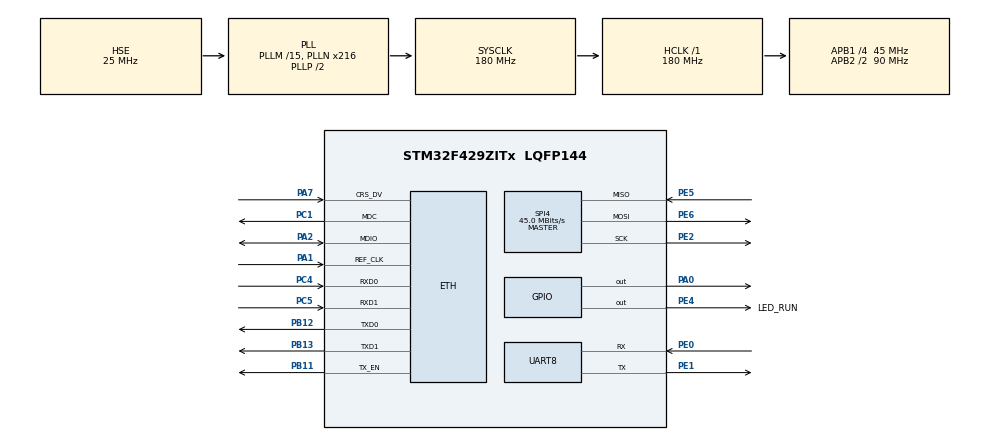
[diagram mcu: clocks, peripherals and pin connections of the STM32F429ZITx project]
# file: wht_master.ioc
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Dma.Request0=UART8_TX
Dma.UART8_TX.0.Direction=DMA_MEMORY_TO_PERIPH
Dma.UART8_TX.0.FIFOMode=DMA_FIFOMODE_DISABLE
Dma.UART8_TX.0.Instance=DMA1_Stream0
Dma.UART8_TX.0.MemDataAlignment=DMA_MDATAALIGN_BYTE
Dma.UART8_TX.0.MemInc=DMA_MINC_ENABLE
Dma.UART8_TX.0.Mode=DMA_NORMAL
Dma.UART8_TX.0.PeriphDataAlignment=DMA_PDATAALIGN_BYTE
Dma.UART8_TX.0.PeriphInc=DMA_PINC_DISABLE
Dma.UART8_TX.0.Priority=DMA_PRIORITY_LOW
ETH.MediaInterface=HAL_ETH_RMII_MODE
FREERTOS.Tasks01=defaultTask,24,2048,StartDefaultTask,Default,NULL,Dynamic,NULL,NULL
FREERTOS.configTOTAL_HEAP_SIZE=153600
LWIP.BSP.number=1
LWIP.GATEWAY_ADDRESS=192.168.000.001
LWIP.IP_ADDRESS=192.168.000.002
LWIP.LWIP_DHCP=0
LWIP.LWIP_NETIF_STATUS_CALLBACK=1
LWIP.LWIP_TCP=0
LWIP.MEMP_NUM_PBUF=100
LWIP.MEM_SIZE=10240
LWIP.NETMASK_ADDRESS=255.255.255.000
LWIP.PBUF_POOL_BUFSIZE=1514
LWIP.PBUF_POOL_SIZE=40
LWIP.Version=v2.1.2_Cube
LWIP0.BSP.STBoard=false
LWIP0.BSP.api=BSP_COMPONENT_DRIVER
LWIP0.BSP.component=DP83848
LWIP0.BSP.instance=DP83848
LWIP0.BSP.name=Driver_PHY
LWIP0.BSP.semaphore=S_DP83848
LWIP0.BSP.solution=DP83848
Mcu.Family=STM32F4
Mcu.Name=STM32F429ZITx
Mcu.Package=LQFP144
NVIC.DMA1_Stream0_IRQn=true\:5\:0\:false\:false\:true\:true\:false\:true\:true
NVIC.ETH_IRQn=true\:5\:0\:false\:false\:true\:true\:false\:true\:true
NVIC.PriorityGroup=NVIC_PRIORITYGROUP_4
NVIC.TIM6_DAC_IRQn=true\:15\:0\:false\:false\:true\:false\:false\:true\:true
NVIC.TimeBase=TIM6_DAC_IRQn
NVIC.TimeBaseIP=TIM6
NVIC.UART8_IRQn=true\:5\:0\:false\:false\:true\:true\:true\:true\:true
PA0/WKUP.Signal=GPIO_Output
PA1.Mode=RMII
PA1.Signal=ETH_REF_CLK
PA2.Mode=RMII
PA2.Signal=ETH_MDIO
PA7.Mode=RMII
PA7.Signal=ETH_CRS_DV
PB11.Mode=RMII
PB11.Signal=ETH_TX_EN
PB12.Mode=RMII
PB12.Signal=ETH_TXD0
PB13.Mode=RMII
PB13.Signal=ETH_TXD1
PC1.Mode=RMII
PC1.Signal=ETH_MDC
PC4.Mode=RMII
PC4.Signal=ETH_RXD0
PC5.Mode=RMII
PC5.Signal=ETH_RXD1
PE0.Mode=Asynchronous
PE0.Signal=UART8_RX
PE1.Mode=Asynchronous
PE1.Signal=UART8_TX
PE2.Mode=Full_Duplex_Master
PE2.Signal=SPI4_SCK
PE4.GPIO_Label=LED_RUN
PE4.Signal=GPIO_Output
PE5.Mode=Full_Duplex_Master
PE5.Signal=SPI4_MISO
PE6.Mode=Full_Duplex_Master
PE6.Signal=SPI4_MOSI
PH0/OSC_IN.Mode=HSE-External-Oscillator
PH0/OSC_IN.Signal=RCC_OSC_IN
PH1/OSC_OUT.Mode=HSE-External-Oscillator
PH1/OSC_OUT.Signal=RCC_OSC_OUT
ProjectManager.HeapSize=0x200
ProjectManager.StackSize=0x400
ProjectManager.TargetToolchain=CMake
RCC.48MHZClocksFreq_Value=90000000
RCC.AHBFreq_Value=180000000
RCC.APB1CLKDivider=RCC_HCLK_DIV4
RCC.APB1Freq_Value=45000000
RCC.APB1TimFreq_Value=90000000
RCC.APB2CLKDivider=RCC_HCLK_DIV2
RCC.APB2Freq_Value=90000000
RCC.APB2TimFreq_Value=180000000
RCC.CortexFreq_Value=180000000
RCC.HCLKFreq_Value=180000000
RCC.HSE_VALUE=25000000
RCC.HSI_VALUE=16000000
RCC.LSE_VALUE=32768
RCC.PLLM=15
RCC.PLLN=216
RCC.PLLSourceVirtual=RCC_PLLSOURCE_HSE
RCC.SYSCLKFreq_VALUE=180000000
RCC.SYSCLKSource=RCC_SYSCLKSOURCE_PLLCLK
RCC.VCOOutputFreq_Value=360000000
SPI4.CalculateBaudRate=45.0 MBits/s
SPI4.Direction=SPI_DIRECTION_2LINES
SPI4.Mode=SPI_MODE_MASTER
SPI4.VirtualType=VM_MASTER
TIM2.AutoReloadPreload=TIM_AUTORELOAD_PRELOAD_ENABLE
TIM2.Period=0xFFFFFFFF
TIM2.Prescaler=179
UART8.VirtualMode=Asynchronous
VP_FREERTOS_VS_CMSIS_V2.Mode=CMSIS_V2
VP_LWIP_VS_Enabled.Mode=Enabled
VP_SYS_VS_tim6.Mode=TIM6
VP_TIM2_VS_ClockSourceINT.Mode=Internal
VP_TIM2_VS_ClockSourceITR.Mode=TriggerSource_ITR0
board=custom

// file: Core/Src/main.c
/* USER CODE BEGIN Header */
/**
 ******************************************************************************
 * @file           : main.c
 * @brief          : Main program body
 ******************************************************************************
 * @attention
 *
 * Copyright (c) 2025 STMicroelectronics.
 * All rights reserved.
 *
 * This software is licensed under terms that can be found in the LICENSE file
 * in the root directory of this software component.
 * If no LICENSE file comes with this software, it is provided AS-IS.
 *
 ******************************************************************************
 */
/* USER CODE END Header */
#include "main.h"
#include "cmsis_os.h"
#include "dma.h"
#include "lwip.h"
#include "spi.h"
#include "tim.h"
#include "usart.h"
#include "gpio.h"

/* USER CODE BEGIN Includes */
#include "elog.h"
/* USER CODE END Includes */

void SystemClock_Config(void);
void MX_FREERTOS_Init(void);

/* USER CODE BEGIN 0 */
void HAL_UART_TxCpltCallback(UART_HandleTypeDef *huart) {
    if (huart->Instance == huart8.Instance) {
        extern osSemaphoreId_t elog_dma_lockHandle;
        osSemaphoreRelease(elog_dma_lockHandle);
    }
}

/* USER CODE END 0 */

int main(void)
{

  /* MCU Configuration--------------------------------------------------------*/

  /* Reset of all peripherals, Initializes the Flash interface and the Systick. */
  HAL_Init();

  /* Configure the system clock */
  SystemClock_Config();

  /* Initialize all configured peripherals */
  MX_GPIO_Init();
  MX_DMA_Init();
  MX_SPI4_Init();
  MX_UART8_Init();
  MX_TIM2_Init();
  /* USER CODE BEGIN 2 */
  elog_init();

  elog_set_fmt(ELOG_LVL_ASSERT, ELOG_FMT_ALL & ~ELOG_FMT_P_INFO);
  elog_set_fmt(ELOG_LVL_ERROR, ELOG_FMT_LVL | ELOG_FMT_TAG | ELOG_FMT_TIME);
  elog_set_fmt(ELOG_LVL_WARN, ELOG_FMT_LVL | ELOG_FMT_TAG | ELOG_FMT_TIME);
  elog_set_fmt(ELOG_LVL_INFO, ELOG_FMT_LVL | ELOG_FMT_TAG | ELOG_FMT_TIME);
  elog_set_fmt(ELOG_LVL_DEBUG, ELOG_FMT_ALL & ~(ELOG_FMT_FUNC | ELOG_FMT_P_INFO));
  elog_set_fmt(ELOG_LVL_VERBOSE, ELOG_FMT_ALL & ~(ELOG_FMT_FUNC | ELOG_FMT_P_INFO));

  elog_start();

  /* USER CODE END 2 */

  /* Init scheduler */
  osKernelInitialize();  /* Call init function for freertos objects (in cmsis_os2.c) */
  MX_FREERTOS_Init();

  /* Start scheduler */
  osKernelStart();

  /* We should never get here as control is now taken by the scheduler */

  /* Infinite loop */
  while (1) {

  }
}

void SystemClock_Config(void)
{
  RCC_OscInitTypeDef RCC_OscInitStruct = {0};
  RCC_ClkInitTypeDef RCC_ClkInitStruct = {0};

  /** Configure the main internal regulator output voltage
  */
  __HAL_RCC_PWR_CLK_ENABLE();
  __HAL_PWR_VOLTAGESCALING_CONFIG(PWR_REGULATOR_VOLTAGE_SCALE1);

  /** Initializes the RCC Oscillators according to the specified parameters
  * in the RCC_OscInitTypeDef structure.
  */
  RCC_OscInitStruct.OscillatorType = RCC_OSCILLATORTYPE_HSE;
  RCC_OscInitStruct.HSEState = RCC_HSE_ON;
  RCC_OscInitStruct.PLL.PLLState = RCC_PLL_ON;
  RCC_OscInitStruct.PLL.PLLSource = RCC_PLLSOURCE_HSE;
  RCC_OscInitStruct.PLL.PLLM = 15;
  RCC_OscInitStruct.PLL.PLLN = 216;
  RCC_OscInitStruct.PLL.PLLP = RCC_PLLP_DIV2;
  RCC_OscInitStruct.PLL.PLLQ = 4;
  if (HAL_RCC_OscConfig(&RCC_OscInitStruct) != HAL_OK)
  {
    Error_Handler();
  }

  /** Activate the Over-Drive mode
  */
  if (HAL_PWREx_EnableOverDrive() != HAL_OK)
  {
    Error_Handler();
  }

  /** Initializes the CPU, AHB and APB buses clocks
  */
  RCC_ClkInitStruct.ClockType = RCC_CLOCKTYPE_HCLK|RCC_CLOCKTYPE_SYSCLK
                              |RCC_CLOCKTYPE_PCLK1|RCC_CLOCKTYPE_PCLK2;
  RCC_ClkInitStruct.SYSCLKSource = RCC_SYSCLKSOURCE_PLLCLK;
  RCC_ClkInitStruct.AHBCLKDivider = RCC_SYSCLK_DIV1;
  RCC_ClkInitStruct.APB1CLKDivider = RCC_HCLK_DIV4;
  RCC_ClkInitStruct.APB2CLKDivider = RCC_HCLK_DIV2;

  if (HAL_RCC_ClockConfig(&RCC_ClkInitStruct, FLASH_LATENCY_5) != HAL_OK)
  {
    Error_Handler();
  }
}

void HAL_TIM_PeriodElapsedCallback(TIM_HandleTypeDef *htim)
{
  if (htim->Instance == TIM6)
  {
    HAL_IncTick();
  }
}

void Error_Handler(void)
{
  __disable_irq();
  while (1) {
  }
}
#ifdef USE_FULL_ASSERT
/**
  * @brief  Reports the name of the source file and the source line number
  *         where the assert_param error has occurred.
  * @param  file: pointer to the source file name
  * @param  line: assert_param error line source number
  * @retval None
  */
void assert_failed(uint8_t *file, uint32_t line)
{
  /* USER CODE BEGIN 6 */
  /* User can add his own implementation to report the file name and line
     number, ex: printf("Wrong parameters value: file %s on line %d\r\n", file,
     line) */
  /* USER CODE END 6 */
}
#endif /* USE_FULL_ASSERT */

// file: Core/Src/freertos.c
/* USER CODE BEGIN Header */
/**
 ******************************************************************************
 * File Name          : freertos.c
 * Description        : Code for freertos applications
 ******************************************************************************
 * @attention
 *
 * Copyright (c) 2025 STMicroelectronics.
 * All rights reserved.
 *
 * This software is licensed under terms that can be found in the LICENSE file
 * in the root directory of this software component.
 * If no LICENSE file comes with this software, it is provided AS-IS.
 *
 ******************************************************************************
 */
/* USER CODE END Header */

#include "FreeRTOS.h"
#include "task.h"
#include "main.h"
#include "cmsis_os.h"

/* USER CODE BEGIN Includes */
#include <stdio.h>

#include "elog.h"
#include "gpio.h"
#include "usart.h"

/* USER CODE END Includes */

/* USER CODE BEGIN PTD */
typedef StaticTask_t osStaticThreadDef_t;
/* USER CODE END PTD */

/* Definitions for defaultTask */
osThreadId_t defaultTaskHandle;
const osThreadAttr_t defaultTask_attributes = {
  .name = "defaultTask",
  .stack_size = 2048 * 4,
  .priority = (osPriority_t) osPriorityNormal,
};

/* USER CODE BEGIN FunctionPrototypes */

/* Definitions for elog */
osThreadId_t elogHandle;
uint32_t elogBuffer[512];
osStaticThreadDef_t elogControlBlock;
const osThreadAttr_t elog_attributes = {
    .name = "elog",
    .stack_mem = &elogBuffer[0],
    .stack_size = sizeof(elogBuffer),
    .cb_mem = &elogControlBlock,
    .cb_size = sizeof(elogControlBlock),
    .priority = (osPriority_t)osPriorityLow,
};
/* Definitions for elog_lock */
osSemaphoreId_t elog_lockHandle;
const osSemaphoreAttr_t elog_lock_attributes = {.name = "elog_lock"};
/* Definitions for elog_async */
osSemaphoreId_t elog_asyncHandle;
const osSemaphoreAttr_t elog_async_attributes = {.name = "elog_async"};
/* Definitions for elog_dma_lock */
osSemaphoreId_t elog_dma_lockHandle;
const osSemaphoreAttr_t elog_dma_lock_attributes = {.name = "elog_dma_lock"};

extern int main_app(void);
extern void elog_entry(void *argument);
/* USER CODE END FunctionPrototypes */

void StartDefaultTask(void *argument);

extern void MX_LWIP_Init(void);
void MX_FREERTOS_Init(void); /* (MISRA C 2004 rule 8.1) */

void MX_FREERTOS_Init(void) {

  /* USER CODE BEGIN RTOS_SEMAPHORES */
    /* add semaphores, ... */
    /* creation of elog_lock */
    elog_lockHandle = osSemaphoreNew(1, 1, &elog_lock_attributes);

    /* creation of elog_async */
    elog_asyncHandle = osSemaphoreNew(1, 1, &elog_async_attributes);

    /* creation of elog_dma_lock */
    elog_dma_lockHandle = osSemaphoreNew(1, 1, &elog_dma_lock_attributes);

  /* USER CODE END RTOS_SEMAPHORES */

  /* Create the thread(s) */
  /* creation of defaultTask */
  defaultTaskHandle = osThreadNew(StartDefaultTask, NULL, &defaultTask_attributes);

  /* USER CODE BEGIN RTOS_THREADS */
    /* add threads, ... */

    /* creation of elog */
    elogHandle = osThreadNew(elog_entry, NULL, &elog_attributes);

  /* USER CODE END RTOS_THREADS */

}

void StartDefaultTask(void *argument)
{
  /* init code for LWIP */
  MX_LWIP_Init();
  /* USER CODE BEGIN StartDefaultTask */
    main_app();

    /* Infinite loop */
    for (;;) {
        HAL_GPIO_TogglePin(GPIOA, GPIO_PIN_0);
        osDelay(500);
    }
  /* USER CODE END StartDefaultTask */
}

/* USER CODE BEGIN Application */

void vApplicationStackOverflowHook(TaskHandle_t xTask, char *pcTaskName) {
    printf("Stack overflow in task: %s\n", pcTaskName);
    while (1);  // trap for debugging
}

int __io_putchar(int ch) {
    HAL_UART_Transmit(&huart8, (uint8_t *)&ch, 1, HAL_MAX_DELAY);
    return ch;
}

/* USER CODE END Application */
